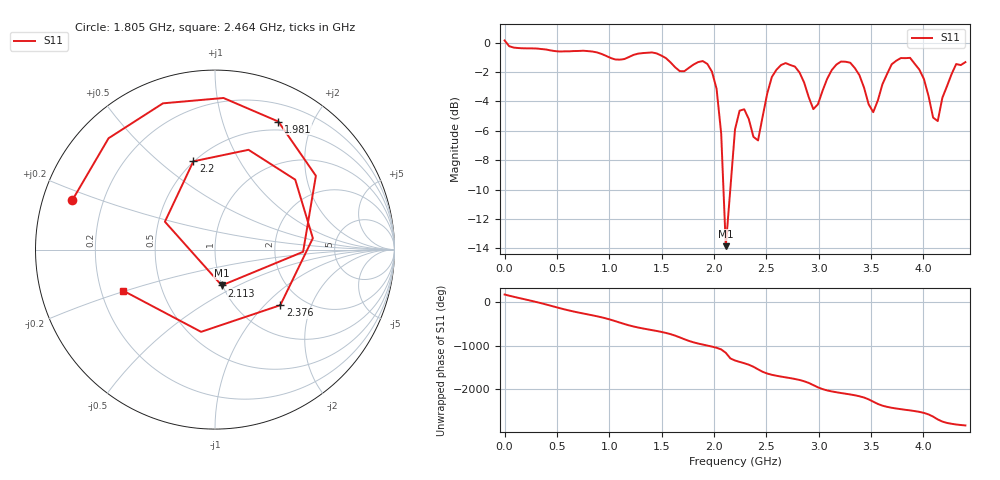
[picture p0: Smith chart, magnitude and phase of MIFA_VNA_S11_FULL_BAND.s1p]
# HZ S RI R 50
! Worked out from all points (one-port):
!   101 points, 1 MHz to 4.4 GHz, reference 50 ohm
!   lowest |S11| = -13.9 dB at 2.113 GHz (marker M1), VSWR 1.51, Z = 49.6 - j20.6 ohm
!   |S11| at or under -10 dB: 2.09 GHz to 2.156 GHz (65.08 MHz wide, 3.07 % of centre)
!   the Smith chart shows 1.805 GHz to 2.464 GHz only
!   S11 on the Smith chart (normalised r, x): 1.805 GHz: 0.09, +0.17; 1.981 GHz: 0.40, +1.54; 2.113 GHz: 0.99, -0.41; 2.2 GHz: 0.50, +0.66; 2.376 GHz: 1.54, -1.24; 2.464 GHz: 0.29, -0.20
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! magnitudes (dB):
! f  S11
! 1 MHz  0.1
! 572.9 MHz  -0.6
! 1.101 GHz  -1.2
! 1.409 GHz  -0.7
! 1.673 GHz  -1.9
! 1.805 GHz  -1.5
! 1.981 GHz  -2.0
! 2.025 GHz  -3.1
! 2.069 GHz  -6.2
! 2.113 GHz  -13.9
! 2.2 GHz  -5.9
! 2.288 GHz  -4.5
! 2.376 GHz  -6.4
! 2.42 GHz  -6.7
! 2.464 GHz  -5.0
! 2.596 GHz  -1.8
! 2.772 GHz  -1.6
! 2.948 GHz  -4.5
! 3.124 GHz  -1.9
! 3.3 GHz  -1.4
! 3.52 GHz  -4.7
! 3.696 GHz  -1.5
! 3.872 GHz  -1.0
! 4.004 GHz  -2.5
! 4.092 GHz  -5.1
! 4.136 GHz  -5.3
! 4.312 GHz  -1.5
! 4.4 GHz  -1.3
